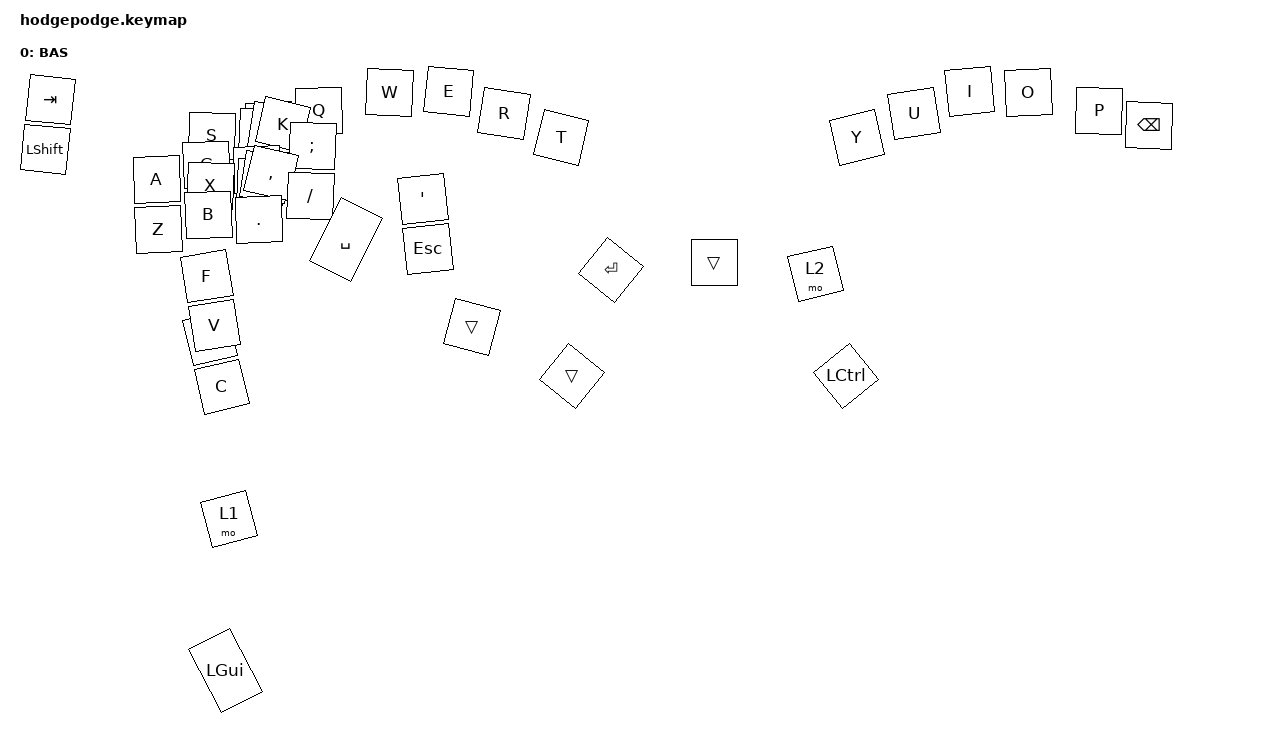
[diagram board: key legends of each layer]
#include <behaviors.dtsi>
#include <dt-bindings/zmk/keys.h>
#include <dt-bindings/zmk/bt.h>

/ {
	behaviors {
		yu_macro: yu_macro {
			compatible = "zmk,behavior-macro";
			label = "YU_MACRO";
			#binding-cells = <0>;
			bindings = <&studio_unlock>;
		};
	};
	
	keymap {
		compatible = "zmk,keymap";
		
		default_layer {
			display-name = "BAS";
			// -----------------------------------------------------------------------------------------
			// |  ESC |  Q  |  W  |  E  |  R  |  T  |   |  Y  |  U   |  I  |  O  |  P  | BKSP |
			// | TAB |  A  |  S  |  D  |  F  |  G  |   |  H  |  J   |  K  |  L  |  ;  |  '   |
			// | SHFT |  Z  |  X  |  C  |  V  |  B  |   |  N  |  M   |  ,  |  .  |  /  | ESC  |
			//                    | GUI | LWR | SPC |   | ENT | RSE  | ALT |
			bindings = <
			&kp ESC  &kp Q  &kp W  &kp E     &kp R  &kp T        &kp Y    &kp U  &kp I      &kp O    &kp P     &kp BSPC
			&kp TAB  &kp A  &kp S  &kp D     &kp F  &kp G        &kp H    &kp J  &kp K      &kp L    &kp SEMI  &kp SQT
			&kp LSHFT  &kp Z  &kp X  &kp C     &kp V  &kp B        &kp N    &kp M  &kp COMMA  &kp DOT  &kp FSLH  &kp ESC
			&kp LGUI  &mo 1  &kp SPACE   &trans &trans &trans &kp RET  &mo 2  &kp LCTRL
			>;
			// sensor-bindings = <&inc_dec_kp C_VOL_UP C_VOL_DN>;
		};
		
		lower_layer {
			display-name = "LOW";
			bindings = <
			&none &none &none &none &none &none &none &none &none &none &none &none
			&none &none &none &none &none &none &none &none &none &none &none &none
			&none &none &none &none &none &none &none &none &none &none &none &none
			&none &none &none &none &none &none &none &none &none
			>;
			status = "reserved";
		};
		
		raise_layer {
			display-name = "RAI";
			bindings = <
			&none &none &none &none &none &none &none &none &none &none &none &none
			&none &none &none &none &none &none &none &none &none &none &none &none
			&none &none &none &none &none &none &none &none &none &none &none &none
			&none &none &none &none &none &none &none &none &none
			>;
			status = "reserved";
		};
		
		layer3 {
			bindings = <
			&none &none &none &none &none &none &none &none &none &none &none &none
			&none &none &none &none &none &none &none &none &none &none &none &none
			&none &none &none &none &none &none &none &none &none &none &none &none
			&none &none &none &none &none &none &none &none &none
			>;
			status = "reserved";
		};
		
		layer4 {
			bindings = <
			&none &none &none &none &none &none &none &none &none &none &none &none
			&none &none &none &none &none &none &none &none &none &none &none &none
			&none &none &none &none &none &none &none &none &none &none &none &none
			&none &none &none &none &none &none &none &none &none
			>;
			status = "reserved";
		};
	};
};
